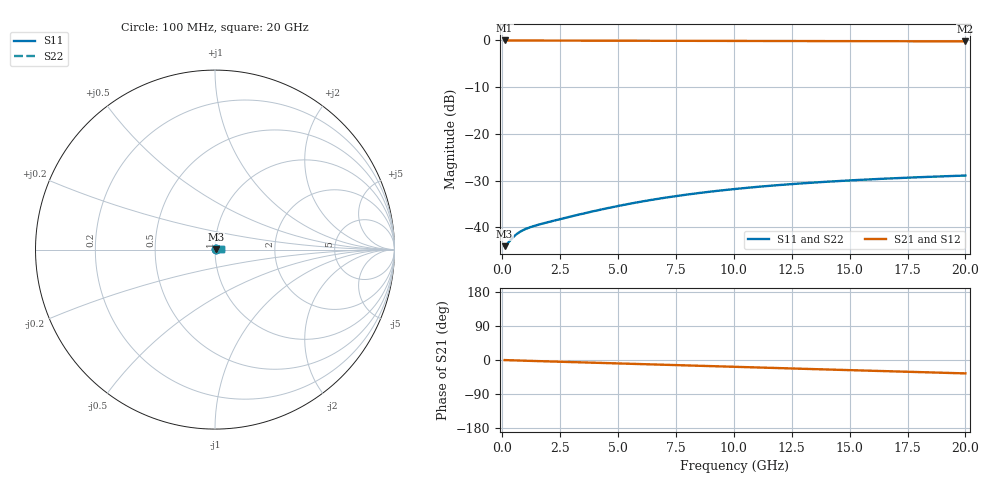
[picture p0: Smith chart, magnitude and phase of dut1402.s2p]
! Touchstone file exported from HFSS 2026.1.0
!  File:  C:/ffzhzh/LocalFiles/Ansys_Project_Files/temp_train_TMRDL_1402_1783166403_43440.aedt
!  Generated:  08:01:08 PM Jul  4, 2026
!  Design:  TMRDL
!  Project:  temp_train_TMRDL_1402_1783166403_43440
! Variables:
!  h_bsmrdl = 2um
!  h_ox = 20um
!  h_rdl = 5um
!  h_sub = 80um
!  h_tmrdl = 3.31um
!  h_tsv = 80um
!  h_via = 3um
!  l_bsmrdl = 300um
!  l_sub = 1042.91um
!  l_tmrdl = 642.91um
!  m_sub = 200um
!  pitch = 14.31um
!  r_tsv = 6um
!  s_tmrdl = 10um
!  w_bsmrdl = 18um
!  w_sub = 500um
!  w_tmrdl = 11.1um
!  x_tsv_center1 = 648.46um
!  x_tsv_center2 = 966.46um
!  x_tsv_center3 = 1620.47um
!  x_tsv_center4 = 1938.47um
!  x_tsv_center5 = 2592.48um
!  x_tsv_center6 = 2910.48um
# GHz S MA R 50.000000
! Terminal data exported
! Port[1] = TM_RDL1_1_T1
! Port[2] = TM_RDL1_1_T2
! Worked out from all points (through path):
!   200 points, 100 MHz to 20 GHz, reference 50 ohm
!   highest |S21| = -0.05 dB at 100 MHz (marker M1); lowest = -0.2 dB at 20 GHz (marker M2)
!   group delay of S21, straight-line fit = 4.89 ps
!   lowest |S11| = -44.0 dB at 100 MHz (marker M3), VSWR 1.01, Z = 50.6 + j0.074 ohm
!   |S11| at or under -10 dB: start of sweep to end of sweep
!   |S22| runs from -44.0 to -29.1 dB; largest |S21 - S12| = 2.6e-15
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0.1  0.006293 6.7  0.9938 -0.2  0.9938 -0.2  0.006293 6.7
! Gamma 0 0 0 0
! Port Impedance 50 0 50 0
0.2  0.006618 12.2  0.9935 -0.4  0.9935 -0.4  0.006619 12.2
0.4  0.007532 18.7  0.9929 -0.8  0.9929 -0.8  0.007532 18.6
0.5  0.007985 20.3  0.9926 -1.0  0.9926 -1.0  0.007982 20.2
0.6  0.008393 21.2  0.9922 -1.2  0.9922 -1.2  0.008387 21.2
0.8  0.009068 22.3  0.9917 -1.6  0.9917 -1.6  0.009056 22.3
1  0.009591 23.0  0.9913 -1.9  0.9913 -1.9  0.009575 23.0
1.3  0.01021 24.1  0.9908 -2.5  0.9908 -2.5  0.01019 24.2
1.7  0.01091 25.8  0.9904 -3.2  0.9904 -3.2  0.01089 25.9
2.5  0.01225 29.1  0.9898 -4.6  0.9898 -4.6  0.01223 29.3
3.5  0.01405 32.2  0.989 -6.4  0.989 -6.4  0.01403 32.3
4.4  0.01576 33.6  0.9882 -8.1  0.9882 -8.1  0.01573 33.7
5.2  0.0173 34.0  0.9874 -9.5  0.9874 -9.5  0.01726 34.1
6  0.01883 33.7  0.9865 -10.9  0.9865 -10.9  0.01877 34.0
6.8  0.02032 33.0  0.9856 -12.4  0.9856 -12.4  0.02025 33.3
8.4  0.02312 30.8  0.9837 -15.2  0.9837 -15.2  0.02301 31.1
10.1  0.02578 27.6  0.9817 -18.2  0.9817 -18.2  0.02563 28.1
11.7  0.02799 24.3  0.9799 -21.0  0.9799 -21.0  0.0278 24.9
13.4  0.03005 20.7  0.978 -24.0  0.978 -24.0  0.02979 21.4
15  0.03173 17.3  0.9764 -26.7  0.9764 -26.7  0.03141 18.0
16.7  0.0333 13.7  0.9748 -29.7  0.9748 -29.7  0.03289 14.5
20  0.03577 6.8  0.972 -35.4  0.972 -35.4  0.0352 7.9
